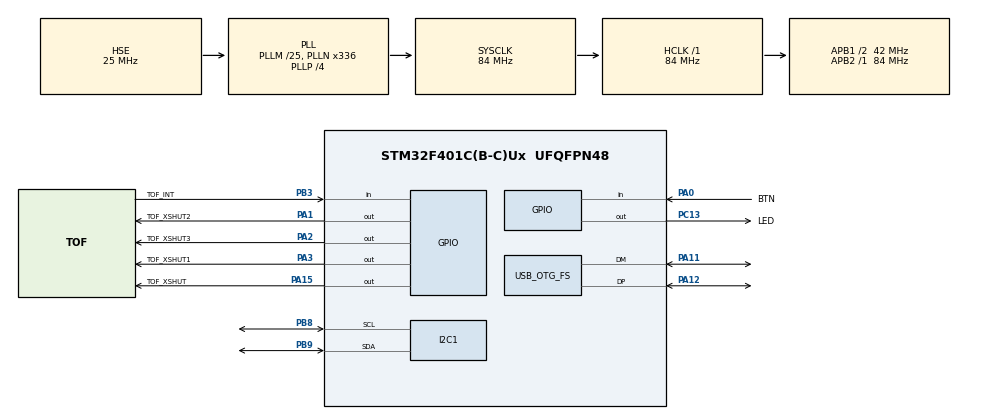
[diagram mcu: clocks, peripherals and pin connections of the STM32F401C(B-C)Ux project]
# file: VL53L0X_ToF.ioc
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Mcu.Family=STM32F4
Mcu.Name=STM32F401C(B-C)Ux
Mcu.Package=UFQFPN48
NVIC.OTG_FS_IRQn=true\:0\:0\:false\:false\:true\:false\:true
NVIC.PriorityGroup=NVIC_PRIORITYGROUP_4
PA0-WKUP.GPIO_Label=BTN
PA0-WKUP.GPIO_PuPd=GPIO_PULLUP
PA0-WKUP.Signal=GPIO_Input
PA1.GPIO_Label=TOF_XSHUT2
PA1.Signal=GPIO_Output
PA11.Mode=Device_Only
PA11.Signal=USB_OTG_FS_DM
PA12.Mode=Device_Only
PA12.Signal=USB_OTG_FS_DP
PA13.Mode=Serial_Wire
PA13.Signal=SYS_JTMS-SWDIO
PA14.Mode=Serial_Wire
PA14.Signal=SYS_JTCK-SWCLK
PA15.GPIO_Label=TOF_XSHUT
PA15.Signal=GPIO_Output
PA2.GPIO_Label=TOF_XSHUT3
PA2.Signal=GPIO_Output
PA3.GPIO_Label=TOF_XSHUT1
PA3.Signal=GPIO_Output
PB3.GPIO_Label=TOF_INT
PB3.Signal=GPIO_Input
PB8.Mode=I2C
PB8.Signal=I2C1_SCL
PB9.Mode=I2C
PB9.Signal=I2C1_SDA
PC13-ANTI_TAMP.GPIO_Label=LED
PC13-ANTI_TAMP.Signal=GPIO_Output
PH0\ -\ OSC_IN.Mode=HSE-External-Oscillator
PH0\ -\ OSC_IN.Signal=RCC_OSC_IN
PH1\ -\ OSC_OUT.Mode=HSE-External-Oscillator
PH1\ -\ OSC_OUT.Signal=RCC_OSC_OUT
ProjectManager.HeapSize=0x200
ProjectManager.StackSize=0x400
ProjectManager.TargetToolchain=STM32CubeIDE
RCC.48MHZClocksFreq_Value=48000000
RCC.AHBFreq_Value=84000000
RCC.APB1CLKDivider=RCC_HCLK_DIV2
RCC.APB1Freq_Value=42000000
RCC.APB1TimFreq_Value=84000000
RCC.APB2Freq_Value=84000000
RCC.APB2TimFreq_Value=84000000
RCC.CortexFreq_Value=84000000
RCC.HCLKFreq_Value=84000000
RCC.HSE_VALUE=25000000
RCC.HSI_VALUE=16000000
RCC.LSE_VALUE=32768
RCC.PLLM=25
RCC.PLLN=336
RCC.PLLP=RCC_PLLP_DIV4
RCC.PLLQ=7
RCC.SYSCLKFreq_VALUE=84000000
RCC.SYSCLKSource=RCC_SYSCLKSOURCE_PLLCLK
RCC.VCOOutputFreq_Value=336000000
USB_DEVICE.CLASS_NAME_FS=CDC
USB_DEVICE.VirtualMode=Cdc
USB_DEVICE.VirtualModeFS=Cdc_FS
USB_OTG_FS.VirtualMode=Device_Only
VP_USB_DEVICE_VS_USB_DEVICE_CDC_FS.Mode=CDC_FS
board=custom

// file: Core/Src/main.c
/* USER CODE BEGIN Header */
/**
 ******************************************************************************
 * @file           : main.c
 * @brief          : Main program body
 ******************************************************************************
 * @attention
 *
 * <h2><center>&copy; Copyright (c) 2020 STMicroelectronics.
 * All rights reserved.</center></h2>
 *
 * This software component is licensed by ST under BSD 3-Clause license,
 * the "License"; You may not use this file except in compliance with the
 * License. You may obtain a copy of the License at:
 *                        opensource.org/licenses/BSD-3-Clause
 *
 ******************************************************************************
 *
 *  Created on: 20.05.2020
 *      Author: Stanislav Punegov
 *		 ADUC gmbh
 *      GitHub:  https://github.com/winney/VL53L0X_API_STM32_HAL
 *      Contact: st.punegov@gmail.com
 */
/* USER CODE END Header */

#include "main.h"
#include "i2c.h"
#include "usb_device.h"
#include "gpio.h"

/* USER CODE BEGIN Includes */
#include <stdio.h>
#include "vl53l0x_api.h"
#include "math.h"
//#ifndef LAGR_H
//#include "lagr.h"
//#endif

/* USER CODE END Includes */

/* USER CODE BEGIN PD */
#define VL53L0X_SENSORS_NUM 4
/* USER CODE END PD */

/* USER CODE BEGIN PV */
uint8_t Message[64];
uint16_t MessageLen;

VL53L0X_Dev_t  						vl53l0x_c[VL53L0X_SENSORS_NUM]; // center module
VL53L0X_DEV    						Dev = NULL; //vl53l0x_c;
uint16_t 							MyPinGPIO[VL53L0X_SENSORS_NUM];
uint16_t							MyPinXSHUT[VL53L0X_SENSORS_NUM];
const uint8_t 						MyI2cAddrList[]={0x54, 0x56, 0x58, 0x60, 0x62, 0x64, 0x66};
const double 						MySensOrient[]={5*M_PI/180,	30*M_PI/180,	40*M_PI/180,	5*M_PI/180};
uint32_t 							DistData[VL53L0X_SENSORS_NUM];
uint8_t 							size;
/* USER CODE END PV */

void SystemClock_Config(void);
/* USER CODE BEGIN PFP */
void Configure_VL53L0X(uint8_t num);

void Configure_VL53L0X(uint8_t num)
{
	static uint32_t refSpadCount[VL53L0X_SENSORS_NUM];
	static uint8_t 	isApertureSpads[VL53L0X_SENSORS_NUM];
	static uint8_t 	VhvSettings[VL53L0X_SENSORS_NUM];
	static uint8_t 	PhaseCal[VL53L0X_SENSORS_NUM];

	Dev = &vl53l0x_c[num];
	//
	// VL53L0X init for Single Measurement
	//
	VL53L0X_WaitDeviceBooted( Dev );
	VL53L0X_DataInit( Dev );
	VL53L0X_StaticInit( Dev );
	VL53L0X_PerformRefCalibration(Dev, &(VhvSettings[num]), &(PhaseCal[num]));
	VL53L0X_PerformRefSpadManagement(Dev, &(refSpadCount[num]), &(isApertureSpads[num]));
	VL53L0X_SetDeviceMode(Dev, VL53L0X_DEVICEMODE_SINGLE_RANGING);
	//
	// Enable/Disable Sigma and Signal check
	//
	VL53L0X_SetLimitCheckEnable(Dev, VL53L0X_CHECKENABLE_SIGMA_FINAL_RANGE, 1);
	VL53L0X_SetLimitCheckEnable(Dev, VL53L0X_CHECKENABLE_SIGNAL_RATE_FINAL_RANGE, 1);
	VL53L0X_SetLimitCheckValue(Dev, VL53L0X_CHECKENABLE_SIGNAL_RATE_FINAL_RANGE, (FixPoint1616_t)(0.1*65536));
	VL53L0X_SetLimitCheckValue(Dev, VL53L0X_CHECKENABLE_SIGMA_FINAL_RANGE, (FixPoint1616_t)(60*65536));
	VL53L0X_SetMeasurementTimingBudgetMicroSeconds(Dev, 33000);
	VL53L0X_SetVcselPulsePeriod(Dev, VL53L0X_VCSEL_PERIOD_PRE_RANGE, 18);
	VL53L0X_SetVcselPulsePeriod(Dev, VL53L0X_VCSEL_PERIOD_FINAL_RANGE, 14);
}

/* USER CODE END PFP */

int main(void)

{

  /* MCU Configuration--------------------------------------------------------*/

  /* Reset of all peripherals, Initializes the Flash interface and the Systick. */
  HAL_Init();

  /* Configure the system clock */
  SystemClock_Config();

  /* Initialize all configured peripherals */
  MX_GPIO_Init();
  MX_I2C1_Init();
  MX_USB_DEVICE_Init();
  /* USER CODE BEGIN 2 */

//  while (HAL_GPIO_ReadPin(BTN_GPIO_Port, BTN_Pin))
//  {
//	  MessageLen = sprintf((char*)Message, "Push the button!!! \n\r");
//	  			CDC_Transmit_FS(Message,MessageLen);
//	  			HAL_Delay(500);
//  }

	MyPinXSHUT[0] = TOF_XSHUT_Pin;
	MyPinXSHUT[1] = TOF_XSHUT1_Pin;
	MyPinXSHUT[2] = TOF_XSHUT2_Pin;
	MyPinXSHUT[3] = TOF_XSHUT3_Pin;

	HAL_GPIO_WritePin(TOF_XSHUT_GPIO_Port, MyPinXSHUT[0]|MyPinXSHUT[1]|MyPinXSHUT[2]|MyPinXSHUT[3], GPIO_PIN_RESET); // Disable XSHUT

	MessageLen = sprintf((char*)Message, "VL53L0X array test\n\r");
	CDC_Transmit_FS(Message,MessageLen);

	for (uint8_t i = 0; i < VL53L0X_SENSORS_NUM; i++)
	{
		VL53L0X_DeviceInfo_t DeviceInfo;
		VL53L0X_Error Status = VL53L0X_ERROR_NONE;

		HAL_GPIO_WritePin(TOF_XSHUT_GPIO_Port, MyPinXSHUT[i], GPIO_PIN_SET); // Enable XSHUT
		HAL_Delay(50);

		Dev = &(vl53l0x_c[i]);
		Dev->I2cDevAddr = 0x52;
		Dev->I2cHandle = &hi2c1;
		Status = VL53L0X_GetDeviceInfo(Dev,&DeviceInfo);

		if (DeviceInfo.ProductType != 0)
		{
			MessageLen = sprintf((char*)Message, "Sensor %d found: %s\n\r",i, DeviceInfo.Name);
			CDC_Transmit_FS(Message,MessageLen);
			Status = VL53L0X_SetDeviceAddress(Dev,MyI2cAddrList[i]);
			HAL_Delay(100);
			vl53l0x_c[i].I2cDevAddr = MyI2cAddrList[i];
			Status = VL53L0X_DataInit(&vl53l0x_c[i]);
			Configure_VL53L0X(i);
		}
		else
		{
			MessageLen = sprintf((char*)Message, "Sensor %d not found\n\r", i);
			CDC_Transmit_FS(Message,MessageLen);

		}
	}

//	PointsData[0][0] = 0;
//	PointsData[1][0] = 0.05;
//	size = 1;

	/* USER CODE END 2 */

  /* Infinite loop */
  /* USER CODE BEGIN WHILE */
	while (1)
	{
		static uint8_t cnt = 0;
		static VL53L0X_RangingMeasurementData_t 	RangingData[VL53L0X_SENSORS_NUM];

		Dev = &(vl53l0x_c[cnt]);

		VL53L0X_PerformSingleRangingMeasurement(Dev, &(RangingData[cnt]));

		if(RangingData[cnt].RangeStatus == 0)
		{
			DistData[cnt] = RangingData[cnt].RangeMilliMeter;

			MessageLen = sprintf((char*)Message, "Sensor %d distance: %i\n\r", cnt, RangingData[cnt].RangeMilliMeter);
			CDC_Transmit_FS((uint8_t*)Message,MessageLen);
		}

		if (++cnt >=VL53L0X_SENSORS_NUM)
		{
			cnt = 0;
//			PointsData[0][size] = PointsData[0][0];
//			PointsData[1][size] = PointsData[1][0];
//			size++;

			double dy = 0.05 + 0.0005*(cos(MySensOrient[1])*DistData[1] + cos(MySensOrient[2])*DistData[2]);
			double dx = 0.05 + 0.001 *(cos(MySensOrient[0])*DistData[0] + cos(MySensOrient[3])*DistData[3]);

			double S = dy*dx;

			MessageLen = sprintf((char*)Message, "Tube size %f m x %f m\n\r", dx, dy);
			CDC_Transmit_FS((uint8_t*)Message,MessageLen);
			HAL_Delay(500);
			MessageLen = sprintf((char*)Message, "Tube area %f sqr m\n\r", S);
			CDC_Transmit_FS((uint8_t*)Message,MessageLen);

		}

		HAL_Delay(500);

    /* USER CODE END WHILE */

	}
}

void SystemClock_Config(void)
{
  RCC_OscInitTypeDef RCC_OscInitStruct = {0};
  RCC_ClkInitTypeDef RCC_ClkInitStruct = {0};

  /** Configure the main internal regulator output voltage
  */
  __HAL_RCC_PWR_CLK_ENABLE();
  __HAL_PWR_VOLTAGESCALING_CONFIG(PWR_REGULATOR_VOLTAGE_SCALE2);
  /** Initializes the CPU, AHB and APB busses clocks
  */
  RCC_OscInitStruct.OscillatorType = RCC_OSCILLATORTYPE_HSE;
  RCC_OscInitStruct.HSEState = RCC_HSE_ON;
  RCC_OscInitStruct.PLL.PLLState = RCC_PLL_ON;
  RCC_OscInitStruct.PLL.PLLSource = RCC_PLLSOURCE_HSE;
  RCC_OscInitStruct.PLL.PLLM = 25;
  RCC_OscInitStruct.PLL.PLLN = 336;
  RCC_OscInitStruct.PLL.PLLP = RCC_PLLP_DIV4;
  RCC_OscInitStruct.PLL.PLLQ = 7;
  if (HAL_RCC_OscConfig(&RCC_OscInitStruct) != HAL_OK)
  {
    Error_Handler();
  }
  /** Initializes the CPU, AHB and APB busses clocks
  */
  RCC_ClkInitStruct.ClockType = RCC_CLOCKTYPE_HCLK|RCC_CLOCKTYPE_SYSCLK
                              |RCC_CLOCKTYPE_PCLK1|RCC_CLOCKTYPE_PCLK2;
  RCC_ClkInitStruct.SYSCLKSource = RCC_SYSCLKSOURCE_PLLCLK;
  RCC_ClkInitStruct.AHBCLKDivider = RCC_SYSCLK_DIV1;
  RCC_ClkInitStruct.APB1CLKDivider = RCC_HCLK_DIV2;
  RCC_ClkInitStruct.APB2CLKDivider = RCC_HCLK_DIV1;

  if (HAL_RCC_ClockConfig(&RCC_ClkInitStruct, FLASH_LATENCY_2) != HAL_OK)
  {
    Error_Handler();
  }
}

void Error_Handler(void)
{
}

/************************ (C) COPYRIGHT STMicroelectronics *****END OF FILE****/
